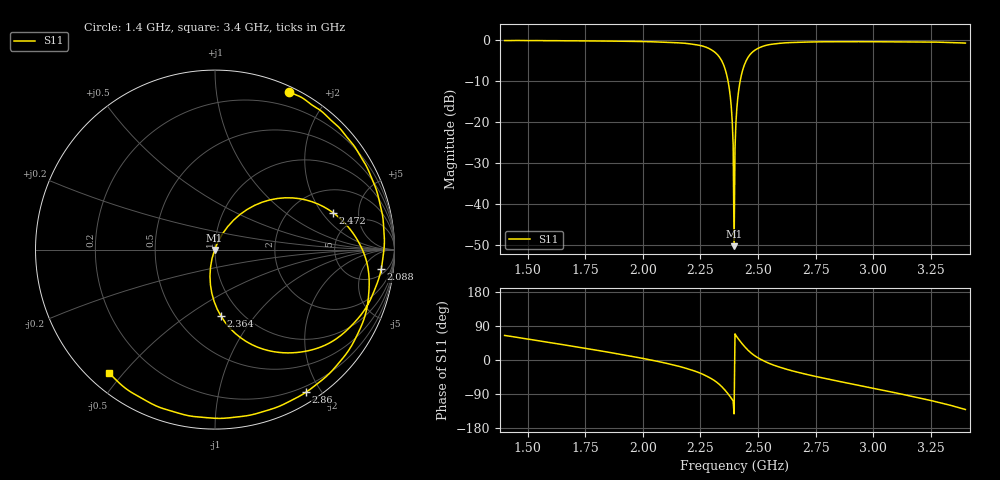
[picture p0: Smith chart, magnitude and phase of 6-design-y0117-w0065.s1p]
#  Hz  S  RI  R  50
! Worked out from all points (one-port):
!   501 points, 1.4 GHz to 3.4 GHz, reference 50 ohm
!   lowest |S11| = -50.2 dB at 2.396 GHz (marker M1), VSWR 1.01, Z = 49.8 - j0.188 ohm
!   |S11| at or under -10 dB: 2.369 GHz to 2.423 GHz (53.45 MHz wide, 2.23 % of centre)
!   S11 on the Smith chart (normalised r, x): 1.4 GHz: 0.05, +1.57; 2.088 GHz: 7, -13; 2.364 GHz: 0.80, -0.69; 2.472 GHz: 3.28, +2.58; 2.86 GHz: 0.13, -1.82; 3.4 GHz: 0.06, -0.46
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1.4e9  0.4138 0.8797
1.652e9  0.7339 0.6278
1.9e9  0.9199 0.2525
2.088e9  0.926 -0.1095
2.152e9  0.8782 -0.2509
2.24e9  0.7228 -0.46
2.304e9  0.4533 -0.5735
2.336e9  0.236 -0.5432
2.364e9  0.033 -0.3703
2.38e9  -0.0255 -0.1961
2.384e9  -0.028 -0.1476
2.388e9  -0.025 -0.0985
2.392e9  -0.0165 -0.0497
2.396e9  -0.00242 -0.00189
2.4e9  0.017 0.0441
2.404e9  0.0414 0.0875
2.408e9  0.0704 0.1277
2.42e9  0.179 0.2236
2.44e9  0.3903 0.2886
2.472e9  0.6571 0.2062
2.504e9  0.7901 0.0592
2.54e9  0.8519 -0.1004
2.652e9  0.8045 -0.4497
2.86e9  0.5069 -0.7947
2.9e9  0.4358 -0.835
3.152e9  -0.0605 -0.9353
3.276e9  -0.3293 -0.8703
3.4e9  -0.5897 -0.688
